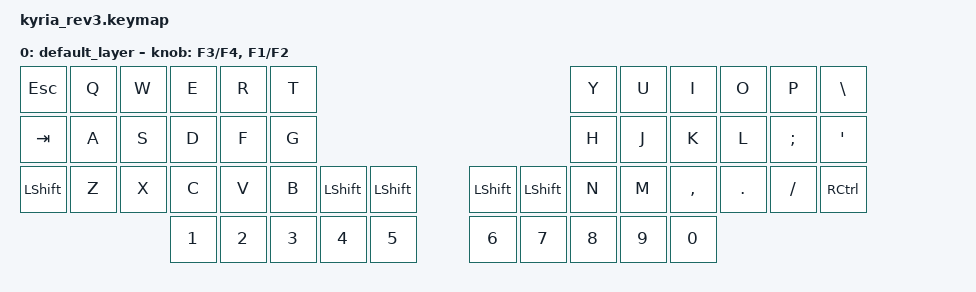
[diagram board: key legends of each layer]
/*
 * Copyright (c) 2023 The ZMK Contributors
 *
 * SPDX-License-Identifier: MIT
 */

#include <behaviors.dtsi>
#include <dt-bindings/zmk/keys.h>

/ {
    keymap {
        compatible = "zmk,keymap";

        default_layer {
            // ---------------------------------------------------------------------------------------------------------------------------------
            // |  ESC  |  Q  |  W  |  E   |  R   |  T   |                                          |  Y   |  U    |  I    |  O   |   P   |   \  |
            // |  TAB  |  A  |  S  |  D   |  F   |  G   |                                          |  H   |  J    |  K    |  L   |   ;   |   '  |
            // | SHIFT |  Z  |  X  |  C   |  V   |  B   | L SHIFT | L SHIFT |  | L SHIFT | L SHIFT |  N   |  M    |  ,    |  .   |   /   | CTRL |
            //                     | GUI  | DEL  | RET  |  SPACE  |   ESC   |  |   RET   |  SPACE  | TAB  | BSPC  | R-ALT |
            bindings = <
            &kp ESC   &kp Q &kp W &kp E &kp R &kp T                                                &kp Y &kp U  &kp I     &kp O   &kp P    &kp BSLH
            &kp TAB   &kp A &kp S &kp D &kp F &kp G                                                &kp H &kp J  &kp K     &kp L   &kp SEMI &kp SQT
            &kp LSHFT &kp Z &kp X &kp C &kp V &kp B &kp LSHFT &kp LSHFT        &kp LSHFT &kp LSHFT &kp N &kp M  &kp COMMA &kp DOT &kp FSLH &kp RCTRL
            &kp N1 &kp N2 &kp N3 &kp N4 &kp N5        &kp N6  &kp N7  &kp N8 &kp N9 &kp N0
            >;

            sensor-bindings = <&inc_dec_kp F3 F4 &inc_dec_kp F1 F2>;
        };
    };
};
